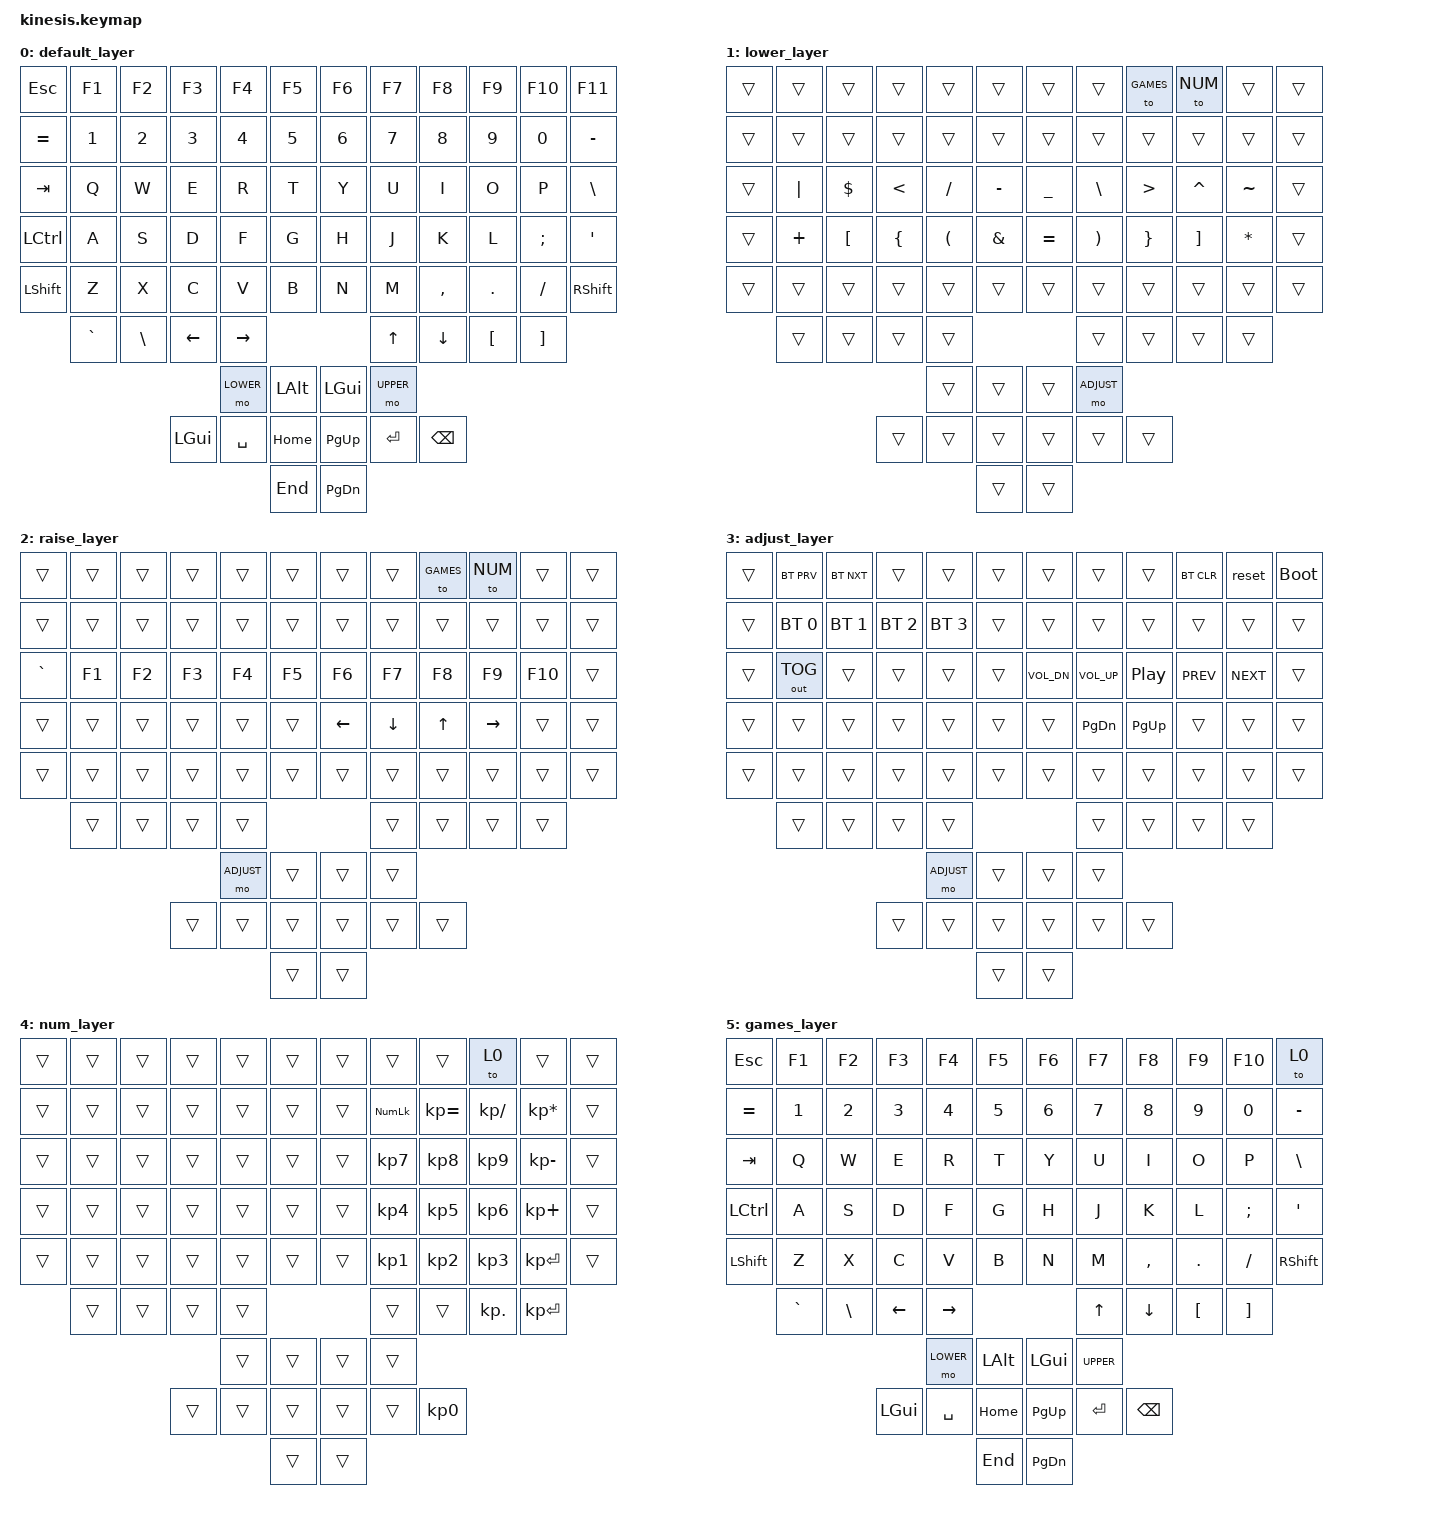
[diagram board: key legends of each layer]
#include <behaviors.dtsi>
#include <dt-bindings/zmk/keys.h>
#include <dt-bindings/zmk/bt.h>
#include <dt-bindings/zmk/outputs.h>


#define QWERTY 0
#define LOWER 1
#define UPPER 2
#define ADJUST 3
#define NUM 4
#define GAMES 5 


/ {
    keymap {
        compatible = "zmk,keymap";

        default_layer {
// --------------------------------------------------------------                            ---------------------------------------------------------------
// |   Esc    |   F1    |   F2    |   F3    |   F4    |   F5    |                            |   F6    |   F7    |   F8    |   F9    |   RST    |  BTLDR   |
// |   +/=    |    1    |    2    |    3    |    4    |    5    |                            |    6    |    7    |    8    |    9    |    0     |  -/_     |
// |   TAB    |    Q    |    W    |    E    |    R    |    T    |                            |    Y    |    U    |    I    |    O    |    P     |  :/\     |
// |   CTRL   |    A    |    S    |    D    |    F    |    G    |                            |    H    |    J    |    K    |    L    |    ;     |  '/"     |
// |  LSHIFT  |    Z    |    X    |    C    |    V    |    B    |                            |    N    |    M    |    ,    |    .    |    /     |  RSHIFT  |
// -----------|    ~    |   :/\   |   LA    |   RA    |----------                            ----------|    UA   |   DA    |    [    |    ]     |----------- 
//            -----------------------------------------                                                ------------------------------------------
//
//                                                                        Thumb Cluster
//                                                           -----------------   ------------------
//                                                           | LOWER | LALT |    | LGUI  |  UPPER |
//                                                   -------------------------   ---------------------------
//                                                   |       |       | HOME  |   | PG UP |        |        |
//                                                   | LGUI  | SPACE |--------   --------|  ENTER |  BSPC  |
//                                                   |       |       |  END  |   | PG DN |        |        |
//                                                   -------------------------   ---------------------------
//

            bindings = <
    &kp ESC      &kp F1       &kp F2       &kp F3       &kp F4       &kp F5        &kp F6       &kp F7       &kp F8       &kp F9       &kp F10         &kp F11
    &kp EQUAL    &kp N1       &kp N2       &kp N3       &kp N4       &kp N5        &kp N6       &kp N7       &kp N8       &kp N9       &kp N0          &kp MINUS
    &kp TAB      &kp Q        &kp W        &kp E        &kp R        &kp T         &kp Y        &kp U        &kp I        &kp O        &kp P           &kp BSLH
    &kp LCTRL    &kp A        &kp S        &kp D        &kp F        &kp G         &kp H        &kp J        &kp K        &kp L        &kp SEMI        &kp APOS
    &kp LSHFT    &kp Z        &kp X        &kp C        &kp V        &kp B         &kp N        &kp M        &kp COMMA    &kp DOT      &kp SLASH       &kp RSHFT
                 &kp GRAVE    &kp BSLH     &kp LEFT     &kp RIGHT                               &kp UP       &kp DOWN     &kp LBKT     &kp RBKT  

                                                        &mo LOWER    &kp LALT      &kp LGUI     &mo UPPER
                                           &kp LGUI     &kp SPACE    &kp HOME      &kp PG_UP    &kp ENTER    &kp BSPC
                                                                     &kp END       &kp PG_DN
            >;

        };

        lower_layer {
// --------------------------------------------------------------                               |--------------------------------------------------------------
// |          |         |         |         |         |         |                               |         |         |         | NUMPAD  |          |          |
// |          |         |         |         |         |         |                               |         |         |         |         |          |          |
// |          |    |    |    $    |    <    |    /    |    -    |                               |    _    |    \    |    >    |    ^    |    ~     |          |
// |          |    +    |    [    |    {    |    (    |    &    |                               |    =    |    )    |    }    |    ]    |    *     |          |
// |          |         |         |         |         |         |                               |         |         |         |         |          |          |
// -----------|         |         |         |         |----------                               ----------|         |         |         |          |-----------
//            -----------------------------------------                                                   ------------------------------------------
//                                                                        Thumb Cluster
//                                                            -----------------   ------------------
//                                                            |       |       |   |        |ADJUST |
//                                                    -------------------------   ---------------------------
//                                                    |       |       |       |   |       |        |        |
//                                                    |       |       |--------   --------|        |        |
//                                                    |       |       |       |   |       |        |        |
//                                                    -------------------------   ---------------------------
//

            bindings = <
    &trans       &trans       &trans       &trans       &trans       &trans        &trans       &trans       &to GAMES    &to NUM       &trans          &trans
    &trans       &trans       &trans       &trans       &trans       &trans        &trans       &trans       &trans       &trans        &trans          &trans
    &trans       &kp PIPE     &kp DLLR     &kp LT       &kp SLASH    &kp MINUS     &kp UNDER    &kp BSLH     &kp GT       &kp CARET     &kp TILDE       &trans
    &trans       &kp PLUS     &kp LBKT     &kp LBRC     &kp LPAR     &kp AMPS      &kp EQUAL    &kp RPAR     &kp RBRC     &kp RBKT      &kp ASTRK       &trans
    &trans       &trans       &trans       &trans       &trans       &trans        &trans       &trans       &trans       &trans        &trans          &trans
                 &trans       &trans       &trans       &trans                                  &trans       &trans       &trans        &trans     

                                                        &trans       &trans        &trans       &mo ADJUST
                                           &trans       &trans       &trans        &trans       &trans       &trans
                                                                     &trans        &trans
            >;
        };

        raise_layer {
// --------------------------------------------------------------                               ---------------------------------------------------------------
// |          |         |         |         |         |         |                               |         |         |         |         |          |          |
// |          |         |         |         |         |         |                               |         |         |         |         |          |          |
// |  GRAVE   |   F1    |   F2    |   F3    |   F4    |   F5    |                               |  F6     |   F7    |   F8    |   F9    |   F0     |          |
// |          |         |         |         |         |         |                               |  Left   |  Down   |   Up    |  Right  |          |          |
// |          |         |         |         |         |         |                               |         |         |         |         |          |          |
// -----------|         |         |         |         |----------                               ----------|         |         |         |          |-----------
//            -----------------------------------------                                                   ------------------------------------------
//                                                                        Thumb Cluster
//                                                            -----------------   ------------------
//                                                            |ADJUST |       |   |        |       |
//                                                    -------------------------   ---------------------------
//                                                    |       |       |       |   |       |        |        |
//                                                    |       |       |--------   --------|        |        |
//                                                    |       |       |       |   |       |        |        |
//                                                    -------------------------   ---------------------------
//

            bindings = <
    &trans       &trans       &trans       &trans       &trans       &trans        &trans       &trans       &to GAMES    &to NUM      &trans       &trans
    &trans       &trans       &trans       &trans       &trans       &trans        &trans       &trans       &trans       &trans       &trans       &trans
    &kp GRAVE    &kp F1       &kp F2       &kp F3       &kp F4       &kp F5        &kp F6       &kp F7       &kp F8       &kp F9       &kp F10      &trans
    &trans       &trans       &trans       &trans       &trans       &trans        &kp LEFT     &kp DOWN     &kp UP       &kp RIGHT    &trans       &trans
    &trans       &trans       &trans       &trans       &trans       &trans        &trans       &trans       &trans       &trans       &trans       &trans
                 &trans       &trans       &trans       &trans                                  &trans       &trans       &trans       &trans     

                                                        &mo ADJUST   &trans        &trans       &trans
                                           &trans       &trans       &trans        &trans       &trans       &trans
                                                                     &trans        &trans
            >;

        };

        adjust_layer {
// --------------------------------------------------------------                               ---------------------------------------------------------------
// |          |  BT Prv | BT Nxt  |         |         |         |                               |         |         |         |  BT Clr |  RESET   |BOOTLOADER|
// |          |   BT 0  |  BT 1   |  BT 2   |  BT 3   |         |                               |         |         |         |         |          |          |
// |          |         |         |         |         |         |                               |  VOLD   | VOLUP   |  PLAY   |  PREV   |  NEXT    |          |
// |          |         |         |         |         |         |                               |         |         |         |         |          |          |
// |          |         |         |         |         |         |                               |         |         |         |         |          |          |
// -----------|         |         |         |         |----------                               ----------|         |         |         |          |-----------
//            -----------------------------------------                                                   ------------------------------------------
//                                                                        Thumb Cluster
//                                                            -----------------   ------------------
//                                                            |       |       |   |        |       |
//                                                    -------------------------   ---------------------------
//                                                    |       |       |       |   |       |        |        |
//                                                    |       |       |--------   --------|        |        |
//                                                    |       |       |       |   |       |        |        |
//                                                    -------------------------   ---------------------------
//

            bindings = <
    &trans       &bt BT_PRV   &bt BT_NXT   &trans       &trans       &trans        &trans       &trans       &trans       &bt BT_CLR   &reset       &bootloader
    &trans       &bt BT_SEL 0 &bt BT_SEL 1 &bt BT_SEL 2 &bt BT_SEL 3 &trans        &trans       &trans       &trans       &trans       &trans       &trans
    &trans       &out OUT_TOG &trans       &trans       &trans       &trans        &kp C_VOL_DN &kp C_VOL_UP &kp C_PP     &kp C_PREV   &kp C_NEXT   &trans
    &trans       &trans       &trans       &trans       &trans       &trans        &trans       &kp PG_DN    &kp PG_UP    &trans       &trans       &trans
    &trans       &trans       &trans       &trans       &trans       &trans        &trans       &trans       &trans       &trans       &trans       &trans
                 &trans       &trans       &trans       &trans                                  &trans       &trans       &trans       &trans

                                                        &mo ADJUST   &trans        &trans       &trans
                                           &trans       &trans       &trans        &trans       &trans       &trans
                                                                     &trans        &trans
            >;
        };

        num_layer {
// --------------------------------------------------------------                               ---------------------------------------------------------------
// |          |         |         |         |         |         |                               |         |         |         |  BASE   |          |          |
// |          |         |         |         |         |         |                               |         | Num Lck |    =    |    /    |     *    |          |
// |          |         |         |         |         |         |                               |         |    7    |    8    |    9    |     -    |          |
// |          |         |         |         |         |         |                               |         |    4    |    5    |    6    |     +    |          |
// |          |         |         |         |         |         |                               |         |    1    |    2    |    3    |   Enter  |          |
// -----------|         |         |         |         |----------                               ----------|         |         |   Del   |   Enter  |-----------
//            -----------------------------------------                                                   ------------------------------------------
//                                                                        Thumb Cluster
//                                                            -----------------   ------------------
//                                                            |       |       |   |        |       |
//                                                    -------------------------   ---------------------------
//                                                    |       |       |       |   |       |        |        |
//                                                    |       |       |--------   --------|        |   0    |
//                                                    |       |       |       |   |       |        |        |
//                                                    -------------------------   ---------------------------
//

            bindings = <
    &trans       &trans       &trans       &trans       &trans       &trans        &trans       &trans       &trans       &to 0         &trans          &trans
    &trans       &trans       &trans       &trans       &trans       &trans        &trans       &kp KP_NUM   &kp KP_EQUAL &kp KP_DIVIDE &kp KP_MULTIPLY &trans
    &trans       &trans       &trans       &trans       &trans       &trans        &trans       &kp KP_N7    &kp KP_N8    &kp KP_N9     &kp KP_MINUS     &trans
    &trans       &trans       &trans       &trans       &trans       &trans        &trans       &kp KP_N4    &kp KP_N5    &kp KP_N6     &kp KP_PLUS     &trans
    &trans       &trans       &trans       &trans       &trans       &trans        &trans       &kp KP_N1    &kp KP_N2    &kp KP_N3     &kp KP_ENTER    &trans
                 &trans       &trans       &trans       &trans                                  &trans       &trans       &kp KP_DOT    &kp KP_ENTER

                                                        &trans       &trans        &trans       &trans
                                           &trans       &trans       &trans        &trans       &trans       &kp KP_N0
                                                                     &trans        &trans
            >;
        };
    
        games_layer {
// --------------------------------------------------------------                            ---------------------------------------------------------------
// |   Esc    |   F1    |   F2    |   F3    |   F4    |   F5    |                            |   F6    |   F7    |   F8    |    F9   |   F10    |  BASE    |
// |   +/=    |    1    |    2    |    3    |    4    |    5    |                            |    6    |    7    |    8    |    9    |    0     |  -/_     |
// |   TAB    |    Q    |    W    |    E    |    R    |    T    |                            |    Y    |    U    |    I    |    O    |    P     |  :/\     |
// |   CTRL   |    A    |    S    |    D    |    F    |    G    |                            |    H    |    J    |    K    |    L    |    ;     |  '/"     |
// |  LSHIFT  |    Z    |    X    |    C    |    V    |    B    |                            |    N    |    M    |    ,    |    .    |    /     |  RSHIFT  |
// -----------|    ~    |   :/\   |   LA    |   RA    |----------                            ----------|    UA   |   DA    |    [    |    ]     |----------- 
//            -----------------------------------------                                                ------------------------------------------
//
//                                                                        Thumb Cluster
//                                                           -----------------   ------------------
//                                                           | LOWER | LALT |    | LGUI  |  UPPER |
//                                                   -------------------------   ---------------------------
//                                                   |       |       | HOME  |   | PG UP |        |        |
//                                                   | LGUI  | SPACE |--------   --------|  ENTER |  BSPC  |
//                                                   |       |       |  END  |   | PG DN |        |        |
//                                                   -------------------------   ---------------------------
//

            bindings = <
    &kp ESC      &kp F1       &kp F2       &kp F3       &kp F4       &kp F5        &kp F6       &kp F7       &kp F8       &kp F9       &kp F10         &to 0
    &kp EQUAL    &kp N1       &kp N2       &kp N3       &kp N4       &kp N5        &kp N6       &kp N7       &kp N8       &kp N9       &kp N0          &kp MINUS
    &kp TAB      &kp Q        &kp W        &kp E        &kp R        &kp T         &kp Y        &kp U        &kp I        &kp O        &kp P           &kp BSLH
    &kp LCTRL    &kp A        &kp S        &kp D        &kp F        &kp G         &kp H        &kp J        &kp K        &kp L        &kp SEMI        &kp APOS
    &kp LSHFT    &kp Z        &kp X        &kp C        &kp V        &kp B         &kp N        &kp M        &kp COMMA    &kp DOT      &kp SLASH       &kp RSHFT
                 &kp GRAVE    &kp BSLH     &kp LEFT     &kp RIGHT                               &kp UP       &kp DOWN     &kp LBKT     &kp RBKT  

                                                        &mo LOWER    &kp LALT      &kp LGUI     &kp UPPER
                                           &kp LGUI     &kp SPACE    &kp HOME      &kp PG_UP    &kp ENTER    &kp BSPC
                                                                     &kp END       &kp PG_DN
            >;

        };
    };
};
